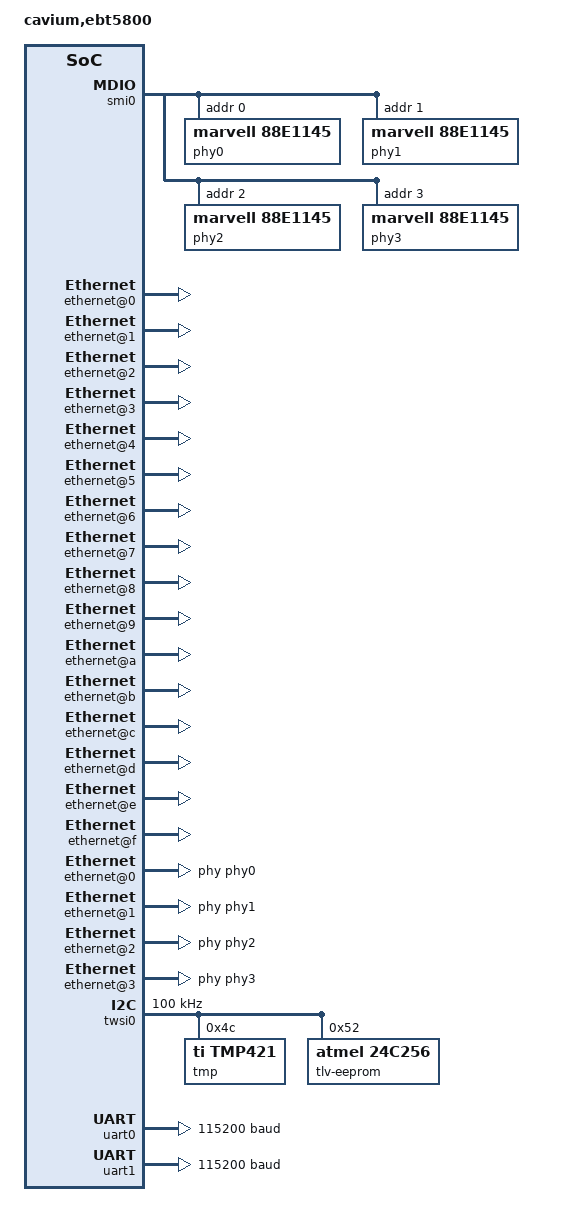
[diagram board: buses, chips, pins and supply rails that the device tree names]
/dts-v1/;
/*
 * Cavium Inc. EBT5800 board
 */
/ {
	model = "cavium,ebt5800";
	compatible = "cavium,ebt5800";
	#address-cells = <2>;
	#size-cells = <2>;
	interrupt-parent = <&ciu>;

	soc@0 {
		compatible = "simple-bus";
		#address-cells = <2>;
		#size-cells = <2>;
		ranges; /* Direct mapping */

		ciu: interrupt-controller@1070000000000 {
			compatible = "cavium,octeon-3860-ciu";
			interrupt-controller;
			/* Interrupts are specified by two parts:
			 * 1) Controller register (0 or 1)
			 * 2) Bit within the register (0..63)
			 */
			#interrupt-cells = <2>;
			reg = <0x10700 0x00000000 0x0 0x7000>;
		};

		gpio: gpio-controller@1070000000800 {
			#gpio-cells = <2>;
			compatible = "cavium,octeon-3860-gpio";
			reg = <0x10700 0x00000800 0x0 0x100>;
			gpio-controller;
			/* Interrupts are specified by two parts:
			 * 1) GPIO pin number (0..15)
			 * 2) Triggering (1 - edge rising
			 *		  2 - edge falling
			 *		  4 - level active high
			 *		  8 - level active low)
			 */
			interrupt-controller;
			#interrupt-cells = <2>;
			/* The GPIO pins connect to 16 consecutive CUI bits */
			interrupts = <0 16>; /* <0 17> <0 18> <0 19>
				     <0 20> <0 21> <0 22> <0 23>
				     <0 24> <0 25> <0 26> <0 27>
				     <0 28> <0 29> <0 30> <0 31>; */
		};

		smi0: mdio@1180000001800 {
			compatible = "cavium,octeon-3860-mdio";
			#address-cells = <1>;
			#size-cells = <0>;
			reg = <0x11800 0x00001800 0x0 0x40>;

			phy0: ethernet-phy@0 {
				reg = <0>;
				compatible = "marvell,88e1145";
			};
			phy1: ethernet-phy@1 {
				reg = <1>;
				compatible = "marvell,88e1145";
			};
			phy2: ethernet-phy@2 {
				reg = <2>;
				compatible = "marvell,88e1145";
			};
			phy3: ethernet-phy@3 {
				reg = <3>;
				compatible = "marvell,88e1145";
			};
		};

		pip: pip@11800a0000000 {
			compatible = "cavium,octeon-3860-pip";
			#address-cells = <1>;
			#size-cells = <0>;
			reg = <0x11800 0xa0000000 0x0 0x2000>;

			interface@0 {
				cavium,qlm-trim = "0,spi";
				compatible = "cavium,octeon-3860-pip-interface";
				#address-cells = <1>;
				#size-cells = <0>;
				reg = <0>; /* interface */

				ethernet@0 {
					compatible = "cavium,octeon-3860-pip-port";
					reg = <0x0>; /* Port */
					local-mac-address = [ 00 00 00 00 00 00 ];
				};
				ethernet@1 {
					compatible = "cavium,octeon-3860-pip-port";
					reg = <0x1>; /* Port */
					local-mac-address = [ 00 00 00 00 00 00 ];
				};
				ethernet@2 {
					compatible = "cavium,octeon-3860-pip-port";
					reg = <0x2>; /* Port */
					local-mac-address = [ 00 00 00 00 00 00 ];
				};
				ethernet@3 {
					compatible = "cavium,octeon-3860-pip-port";
					reg = <0x3>; /* Port */
					local-mac-address = [ 00 00 00 00 00 00 ];
				};
				ethernet@4 {
					compatible = "cavium,octeon-3860-pip-port";
					reg = <0x4>; /* Port */
					local-mac-address = [ 00 00 00 00 00 00 ];
				};
				ethernet@5 {
					compatible = "cavium,octeon-3860-pip-port";
					reg = <0x5>; /* Port */
					local-mac-address = [ 00 00 00 00 00 00 ];
				};
				ethernet@6 {
					compatible = "cavium,octeon-3860-pip-port";
					reg = <0x6>; /* Port */
					local-mac-address = [ 00 00 00 00 00 00 ];
				};
				ethernet@7 {
					compatible = "cavium,octeon-3860-pip-port";
					reg = <0x7>; /* Port */
					local-mac-address = [ 00 00 00 00 00 00 ];
				};
				ethernet@8 {
					compatible = "cavium,octeon-3860-pip-port";
					reg = <0x8>; /* Port */
					local-mac-address = [ 00 00 00 00 00 00 ];
				};
				ethernet@9 {
					compatible = "cavium,octeon-3860-pip-port";
					reg = <0x9>; /* Port */
					local-mac-address = [ 00 00 00 00 00 00 ];
				};
				ethernet@a {
					cavium,qlm-trim = "9,not-spi4000";
					compatible = "cavium,octeon-3860-pip-port";
					reg = <0xa>; /* Port */
					local-mac-address = [ 00 00 00 00 00 00 ];
				};
				ethernet@b {
					cavium,qlm-trim = "9,not-spi4000";
					compatible = "cavium,octeon-3860-pip-port";
					reg = <0xb>; /* Port */
					local-mac-address = [ 00 00 00 00 00 00 ];
				};
				ethernet@c {
					cavium,qlm-trim = "9,not-spi4000";
					compatible = "cavium,octeon-3860-pip-port";
					reg = <0xc>; /* Port */
					local-mac-address = [ 00 00 00 00 00 00 ];
				};
				ethernet@d {
					cavium,qlm-trim = "9,not-spi4000";
					compatible = "cavium,octeon-3860-pip-port";
					reg = <0xd>; /* Port */
					local-mac-address = [ 00 00 00 00 00 00 ];
				};
				ethernet@e {
					cavium,qlm-trim = "9,not-spi4000";
					compatible = "cavium,octeon-3860-pip-port";
					reg = <0xe>; /* Port */
					local-mac-address = [ 00 00 00 00 00 00 ];
				};
				ethernet@f {
					cavium,qlm-trim = "9,not-spi4000";
					compatible = "cavium,octeon-3860-pip-port";
					reg = <0xf>; /* Port */
					local-mac-address = [ 00 00 00 00 00 00 ];
				};
			};

			interface@1 {
				compatible = "cavium,octeon-3860-pip-interface";
				#address-cells = <1>;
				#size-cells = <0>;
				reg = <1>; /* interface */

				ethernet@0 {
					compatible = "cavium,octeon-3860-pip-port";
					reg = <0x0>; /* Port */
					local-mac-address = [ 00 00 00 00 00 00 ];
					phy-handle = <&phy0>;
				};
				ethernet@1 {
					compatible = "cavium,octeon-3860-pip-port";
					reg = <0x1>; /* Port */
					local-mac-address = [ 00 00 00 00 00 00 ];
					phy-handle = <&phy1>;
				};
				ethernet@2 {
					compatible = "cavium,octeon-3860-pip-port";
					reg = <0x2>; /* Port */
					local-mac-address = [ 00 00 00 00 00 00 ];
					phy-handle = <&phy2>;
				};
				ethernet@3 {
					compatible = "cavium,octeon-3860-pip-port";
					reg = <0x3>; /* Port */
					local-mac-address = [ 00 00 00 00 00 00 ];
					phy-handle = <&phy3>;
				};
			};
		};

		twsi0: i2c@1180000001000 {
			#address-cells = <1>;
			#size-cells = <0>;
			compatible = "cavium,octeon-3860-twsi";
			reg = <0x11800 0x00001000 0x0 0x200>;
			interrupts = <0 45>;
			clock-frequency = <100000>;

			tmp@4c {
				compatible = "ti,tmp421";
				reg = <0x4c>;
			};
			tlv-eeprom@52 {
				compatible = "atmel,24c256";
				reg = <0x52>;
				pagesize = <64>;
			};
		};

		uart0: serial@1180000000800 {
			compatible = "cavium,octeon-3860-uart","ns16550";
			reg = <0x11800 0x00000800 0x0 0x400>;
			clock-frequency = <0>;
			current-speed = <115200>;
			reg-shift = <3>;
			interrupts = <0 34>;
		};

		uart1: serial@1180000000c00 {
			compatible = "cavium,octeon-3860-uart","ns16550";
			reg = <0x11800 0x00000c00 0x0 0x400>;
			clock-frequency = <0>;
			current-speed = <115200>;
			reg-shift = <3>;
			interrupts = <0 35>;
		};

		bootbus: bootbus@1180000000000 {
			compatible = "cavium,octeon-3860-bootbus";
			reg = <0x11800 0x00000000 0x0 0x200>;
			/* The chip select number and offset */
			#address-cells = <2>;
			/* The size of the chip select region */
			#size-cells = <1>;
			ranges = <0 0  0x0     0x1f400000  0x00c00000>,
				 <1 0  0x0     0x1d030000  0x00010000>,
				 <2 0  0x0     0x1d010000  0x00010000>,
				 <3 0  0x0     0x1d000000  0x00010000>,
				 <4 0  0x0     0x1d020000  0x00010000>,
				 <5 0  0x10000 0x70000000  0x10000000>,
				 <6 0  0x10000 0x80000000  0x10000000>,
				 <7 0  0x10000 0x90000000  0x10000000>;

			cavium,cs-config@0 {	/* NOR Flash */
				compatible = "cavium,octeon-3860-bootbus-config";
				cavium,cs-index = <0>;
				cavium,t-adr  = <10>;
				cavium,t-ce   = <50>;
				cavium,t-oe   = <50>;
				cavium,t-we   = <35>;
				cavium,t-rd-hld = <25>;
				cavium,t-wr-hld = <35>;
				cavium,t-pause  = <0>;
				cavium,t-wait   = <30>;
				cavium,t-page   = <25>;
				cavium,t-rd-dly = <0>;

				cavium,pages     = <0>;
				cavium,bus-width = <8>;
			};
			cavium,cs-config@1 {	/* PAL */
				compatible = "cavium,octeon-3860-bootbus-config";
				cavium,cs-index = <1>;
				cavium,t-adr  = <300>;
				cavium,t-ce   = <300>;
				cavium,t-oe   = <300>;
				cavium,t-we   = <300>;
				cavium,t-rd-hld = <300>;
				cavium,t-wr-hld = <300>;
				cavium,t-pause  = <200>;
				cavium,t-wait   = <30>;
				cavium,t-page   = <0>;
				cavium,t-rd-dly = <0>;

				cavium,pages     = <0>;
				cavium,bus-width = <8>;
			};
			cavium,cs-config@2 {	/* CF Attribute */
				compatible = "cavium,octeon-3860-bootbus-config";
				cavium,cs-index = <2>;
				cavium,t-adr  = <0>;
				cavium,t-ce   = <30>;
				cavium,t-oe   = <270>;
				cavium,t-we   = <150>;
				cavium,t-rd-hld = <100>;
				cavium,t-wr-hld = <70>;
				cavium,t-pause  = <0>;
				cavium,t-wait   = <300>;
				cavium,t-page   = <300>;
				cavium,t-rd-dly = <0>;

				cavium,pages     = <0>;
				cavium,bus-width = <8>;
			};
			cavium,cs-config@3 {	/* CF Common */
				compatible = "cavium,octeon-3860-bootbus-config";
				cavium,cs-index = <3>;
				cavium,t-adr  = <0>;
				cavium,t-ce   = <30>;
				cavium,t-oe   = <125>;
				cavium,t-we   = <150>;
				cavium,t-rd-hld = <100>;
				cavium,t-wr-hld = <30>;
				cavium,t-pause  = <80>;
				cavium,t-wait   = <30>;
				cavium,t-page   = <300>;
				cavium,t-rd-dly = <0>;

				cavium,pages     = <0>;
				cavium,wait-mode;
				cavium,bus-width = <8>;
			};
			cavium,cs-config@4 {	/* LED */
				compatible = "cavium,octeon-3860-bootbus-config";
				cavium,cs-index = <4>;
				cavium,t-adr  = <10>;
				cavium,t-ce   = <30>;
				cavium,t-oe   = <125>;
				cavium,t-we   = <100>;
				cavium,t-rd-hld = <100>;
				cavium,t-wr-hld = <30>;
				cavium,t-pause  = <80>;
				cavium,t-wait   = <30>;
				cavium,t-page   = <300>;
				cavium,t-rd-dly = <0>;

				cavium,pages     = <0>;
				cavium,bus-width = <8>;
			};

			flash0: nor@0,0 {
				compatible = "cfi-flash";
				reg = <0 0 0x800000>;
				#address-cells = <1>;
				#size-cells = <1>;

				partition@0 {
					label = "bootloader";
					reg = <0x0 0x200000>;
					read-only;
				};
				partition@200000 {
					label = "kernel";
					reg = <0x200000 0x280000>;
				};
				partition@480000 {
					label = "cramfs";
					reg = <0x480000 0x360000>;
				};
				partition@7e0000 {
					label = "environment";
					reg = <0x7e0000 0x20000>;
					read-only;
				};
			};

			pal@1,0 {
				compatible = "cavium,ebt3000-pal", "cavium,ebt5800-pal";
				reg = <1 0x20 0x20>, <1 0 0x20>;
			};

			compact-flash@3,0 {
				compatible  = "cavium,ebt3000-compact-flash";
				reg = <3 0 0x10000>, <2 0 0x10000>;
				cavium,bus-width = <8>;
			};

			led-display@4,0 {
				compatible = "avago,hdsp-253x";
				reg = <4 0x20 0x20>, <4 0 0x20>;
			};
		};
	};

	aliases {
		pip = &pip;
		smi0 = &smi0;
		twsi0 = &twsi0;
		uart0 = &uart0;
		uart1 = &uart1;
		flash0 = &flash0;
	};
 };
